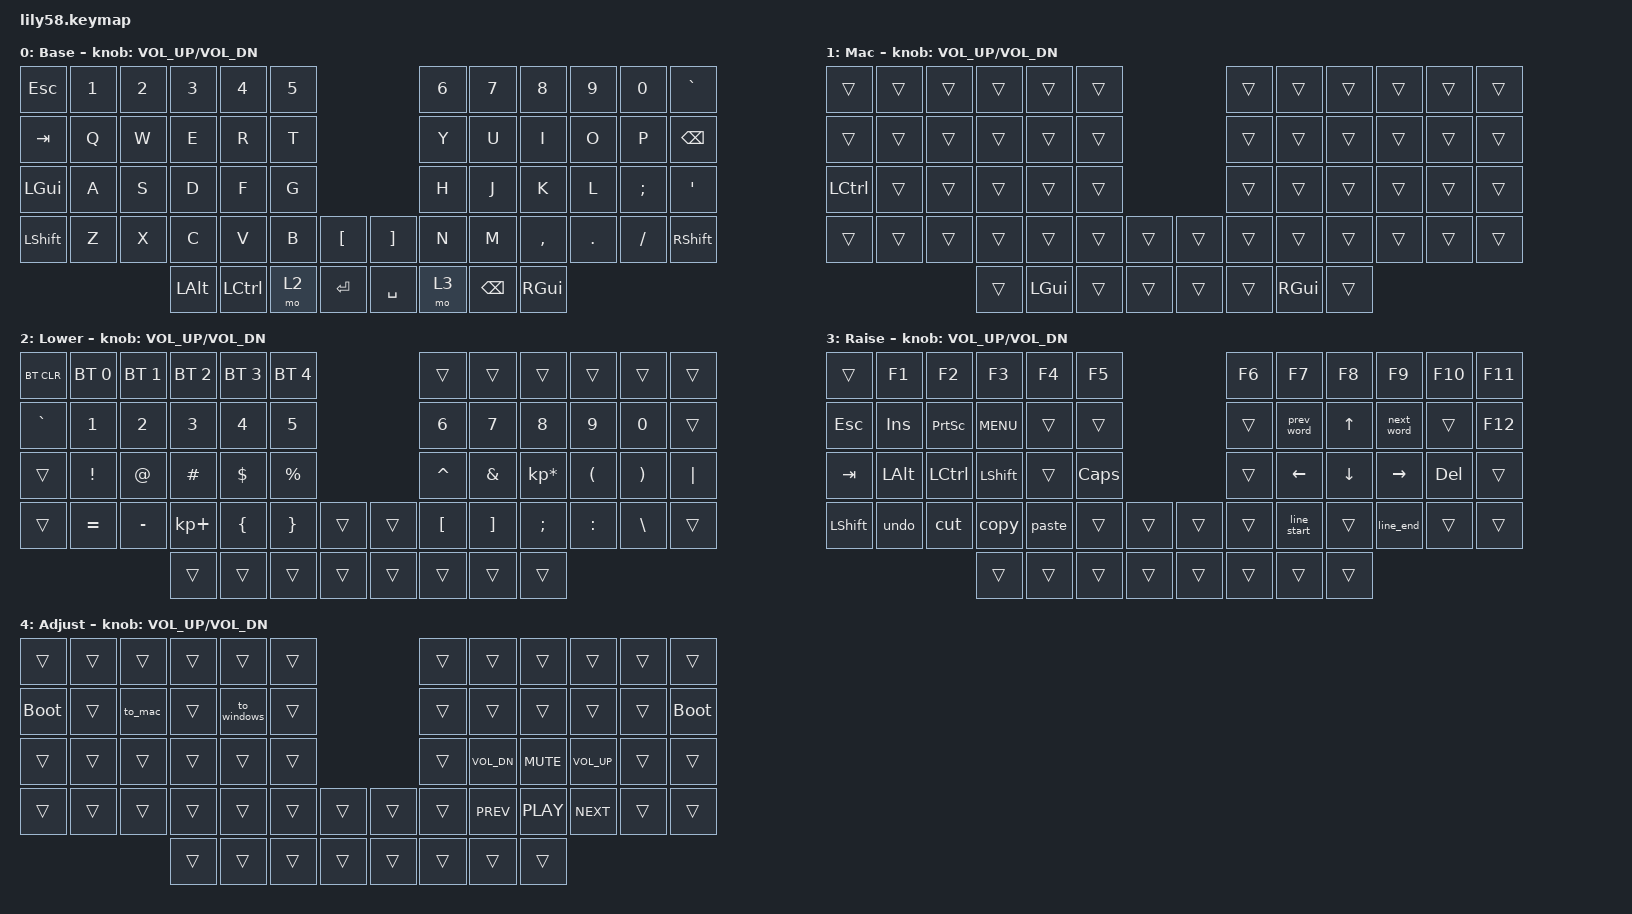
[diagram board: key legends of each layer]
/*
 * Copyright (c) 2020 The ZMK Contributors
 *
 * SPDX-License-Identifier: MIT
 */

#include <behaviors.dtsi>
#include <dt-bindings/zmk/keys.h>
#include <dt-bindings/zmk/bt.h>

/ {
    behaviors {
        // Custom behaviors for word navigation macros

        prev_word: prev_word {
            compatible = "zmk,behavior-macro";
            #binding-cells = <0>;
            bindings =
                <&macro_press>,
                <&kp LCTRL &kp LEFT>,
                <&macro_release>,
                <&kp LEFT &kp LCTRL>;
        };

        next_word: next_word {
            compatible = "zmk,behavior-macro";
            #binding-cells = <0>;
            bindings =
                <&macro_press>,
                <&kp LCTRL &kp RIGHT>,
                <&macro_release>,
                <&kp RIGHT &kp LCTRL>;
        };

        line_start: line_start {
            compatible = "zmk,behavior-macro";
            #binding-cells = <0>;
            bindings = <&kp HOME>;
        };

        line_end: line_end {
            compatible = "zmk,behavior-macro";
            #binding-cells = <0>;
            bindings = <&kp END>;
        };

        undo: undo {
            compatible = "zmk,behavior-macro";
            #binding-cells = <0>;
            bindings =
                <&macro_press>,
                <&kp LCTRL &kp Z>,
                <&macro_release>,
                <&kp Z &kp LCTRL>;
        };

        cut: cut {
            compatible = "zmk,behavior-macro";
            #binding-cells = <0>;
            bindings =
                <&macro_press>,
                <&kp LCTRL &kp X>,
                <&macro_release>,
                <&kp X &kp LCTRL>;
        };

        copy: copy {
            compatible = "zmk,behavior-macro";
            #binding-cells = <0>;
            bindings =
                <&macro_press>,
                <&kp LCTRL &kp C>,
                <&macro_release>,
                <&kp C &kp LCTRL>;
        };

        paste: paste {
            compatible = "zmk,behavior-macro";
            #binding-cells = <0>;
            bindings =
                <&macro_press>,
                <&kp LCTRL &kp V>,
                <&macro_release>,
                <&kp V &kp LCTRL>;
        };

        to_mac: to_mac {
            compatible = "zmk,behavior-macro";
            #binding-cells = <0>;
            bindings = <&macro_tap &to 1>;
        };
        
        to_windows: to_windows {
            compatible = "zmk,behavior-macro";
            #binding-cells = <0>;
            bindings = <&macro_tap &to 0>;
        };
    };

    macros {
    };

    keymap {
        compatible = "zmk,keymap";

        default_layer {
            // ------------------------------------------------------------------------------------------------------------
            // | ESC  |  1  |  2  |  3   |  4   |  5   |                   |  6   |  7    |  8    |  9   |   0   |   `   |
            // | TAB  |  Q  |  W  |  E   |  R   |  T   |                   |  Y   |  U    |  I    |  O   |   P   | BSPC  |
            // | GUI  |  A  |  S  |  D   |  F   |  G   |                   |  H   |  J    |  K    |  L   |   ;   |   '   |
            // | SHIFT|  Z  |  X  |  C   |  V   |  B   |   "["  |  |  "]"  |  N   |  M    |  ,    |  .   |   /   | SHIFT |
            //                     | ALT  | CTRL | LOWER| ENTER |  | SPACE | RAISE| BSPC  | GUI   |

            display-name = "Base";
            bindings = <
&kp ESC    &kp N1  &kp N2  &kp N3    &kp N4     &kp N5                         &kp N6  &kp N7    &kp N8     &kp N9   &kp N0    &kp GRAVE
&kp TAB    &kp Q   &kp W   &kp E     &kp R      &kp T                          &kp Y   &kp U     &kp I      &kp O    &kp P     &kp BKSP
&kp LGUI   &kp A   &kp S   &kp D     &kp F      &kp G                          &kp H   &kp J     &kp K      &kp L    &kp SEMI  &kp SQT
&kp LSHFT  &kp Z   &kp X   &kp C     &kp V      &kp B   &kp LBKT    &kp RBKT   &kp N   &kp M     &kp COMMA  &kp DOT  &kp FSLH  &kp RSHFT
                           &kp LALT  &kp LCTRL  &mo 2   &kp RET     &kp SPACE  &mo 3   &kp BSPC  &kp RGUI
            >;

            sensor-bindings = <&inc_dec_kp C_VOL_UP C_VOL_DN>;
        };

        mac_layer {
            // ------------------------------------------------------------------------------------------------------------
            // |      |     |     |      |      |      |                   |      |       |       |      |       |       |
            // |      |     |     |      |      |      |                   |      |       |       |      |       |       |
            // | CTRL |     |     |      |      |      |                   |      |       |       |      |       |       |
            // |      |     |     |      |      |      |        |  |       |      |       |       |      |       |       |
            //                    |      |      | CMND |        |  |       |      |       |       |

            display-name = "Mac";
            bindings = <
&trans     &trans  &trans  &trans  &trans    &trans                    &trans  &trans    &trans  &trans  &trans  &trans
&trans     &trans  &trans  &trans  &trans    &trans                    &trans  &trans    &trans  &trans  &trans  &trans
&kp LCTRL  &trans  &trans  &trans  &trans    &trans                    &trans  &trans    &trans  &trans  &trans  &trans
&trans     &trans  &trans  &trans  &trans    &trans  &trans    &trans  &trans  &trans    &trans  &trans  &trans  &trans
                           &trans  &kp LGUI  &trans  &trans    &trans  &trans  &kp RGUI  &trans
            >;

            sensor-bindings = <&inc_dec_kp C_VOL_UP C_VOL_DN>;
        };

        lower_layer {
            // ------------------------------------------------------------------------------------------------------------
            // |      |  F1 |  F2 |  F3  |  F4  |  F5  |                   |  F6  |  F7   |  F8   |  F9  |  F10  |  F11  |
            // |  `   |  1  |  2  |  3   |  4   |  5   |                   |  6   |  7    |  8    |  9   |   0   |  F12  |
            // |      |  !  |  @  |  #   |  $   |  %   |                   |  ^   |  &    |  *    |  (   |   )   |   |   |
            // |      |  =  |  -  |  +   |  {   |  }   |        |  |       |  [   |   ]   |   ;   |   :  |   \   |       |
            //                     |      |      |      |        |  |       |      |       |       |

            display-name = "Lower";
            bindings = <
&bt BT_CLR &bt BT_SEL 0     &bt BT_SEL 1      &bt BT_SEL 2   &bt BT_SEL 3    &bt BT_SEL 4                 &trans     &trans    &trans           &trans     &trans    &trans
&kp GRAVE  &kp N1           &kp N2            &kp N3         &kp N4          &kp N5                       &kp N6     &kp N7    &kp N8           &kp N9     &kp N0    &trans
&trans     &kp EXCL         &kp AT            &kp HASH       &kp DOLLAR      &kp PRCNT                    &kp CARET  &kp AMPS  &kp KP_MULTIPLY  &kp LPAR   &kp RPAR  &kp PIPE
&trans     &kp EQUAL        &kp MINUS         &kp KP_PLUS    &kp LBRC        &kp RBRC   &trans    &trans  &kp LBKT   &kp RBKT  &kp SEMI         &kp COLON  &kp BSLH  &trans
                                       &trans       &trans      &trans     &trans    &trans  &trans     &trans    &trans
            >;

            sensor-bindings = <&inc_dec_kp C_VOL_UP C_VOL_DN>;
        };

        raise_layer {
            // ------------------------------------------------------------------------------------------------------------
            // |      |  F1 |  F2 |  F3  |  F4  |  F5  |                   |  F6  |  F7   |  F8   |  F9  |  F10  |  F11  |
            // | ESC  | INS | PSCR| MENU |      |      |                   |      | PWrd  |  UP   | NWrd |      |  F12  |
            // | TAB  | LALT| LCTL| LSHFT|      | CAPS |                   |      | LEFT  | DOWN  | RIGHT|  DEL  |      |
            // | SHIFT| UNDO| CUT | COPY | PASTE|      |        |  |       |      | LStr  |       | LEnd |       |       |
            //                     |      |      |      |        |  |       |      |       |       |

            display-name = "Raise";
            bindings = <
&trans     &kp F1    &kp F2           &kp F3      &kp F4  &kp F5                      &kp F6  &kp F7       &kp F8    &kp F9      &kp F10  &kp F11
&kp ESC    &kp INS   &kp PRINTSCREEN  &kp C_MENU  &trans  &trans                      &trans  &prev_word   &kp UP    &next_word  &trans   &kp F12
&kp TAB    &kp LALT  &kp LCTRL        &kp LSHFT   &trans  &kp CAPS                    &trans  &kp LEFT     &kp DOWN  &kp RIGHT   &kp DEL  &trans
&kp LSHFT  &undo     &cut             &copy       &paste  &trans    &trans    &trans  &trans  &line_start  &trans    &line_end   &trans   &trans
                                      &trans      &trans  &trans    &trans    &trans  &trans  &trans       &trans
            >;

            sensor-bindings = <&inc_dec_kp C_VOL_UP C_VOL_DN>;
        };

        adjust_layer {
            // ------------------------------------------------------------------------------------------------------------
            // |      |     |     |      |      |      |                   |      |       |       |      |       |       |
            // | BOOT |     | MAC |      | WIN  |      |                   |      |       |       |      |       |       |
            // |      |     |     |      |      |      |                   |      | VOLDO | MUTE  | VOLUP|       |       |
            // |      |     |     |      |      |      |        |  |       |      | PREV  | PLAY  | NEXT |       |       |
            //                     |      |      |      |        |  |       |      |       |       |

            display-name = "Adjust";
            bindings = <
&trans       &trans  &trans  &trans  &trans          &trans                    &trans  &trans        &trans      &trans        &trans  &trans
&bootloader  &trans  &to_mac &trans  &to_windows     &trans                    &trans  &trans        &trans      &trans        &trans  &bootloader
&trans       &trans  &trans  &trans  &trans          &trans                    &trans  &kp C_VOL_DN  &kp C_MUTE  &kp C_VOL_UP  &trans  &trans
&trans       &trans  &trans  &trans  &trans          &trans  &trans    &trans  &trans  &kp C_PREV    &kp C_PLAY  &kp C_NEXT    &trans  &trans
                             &trans  &trans          &trans  &trans    &trans  &trans  &trans        &trans
            >;

            sensor-bindings = <&inc_dec_kp C_VOL_UP C_VOL_DN>;
        };

        extra_2 { status = "reserved"; };

        extra_3 { status = "reserved"; };
    };

    conditional_layers {
        compatible = "zmk,conditional-layers";

        adjust_layer {
            if-layers = <2 3>;
            then-layer = <4>;
        };
    };
};
